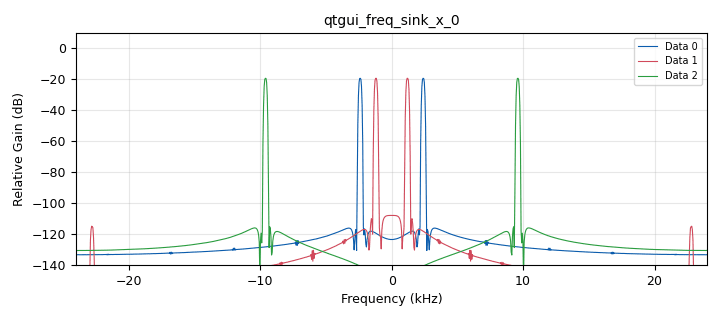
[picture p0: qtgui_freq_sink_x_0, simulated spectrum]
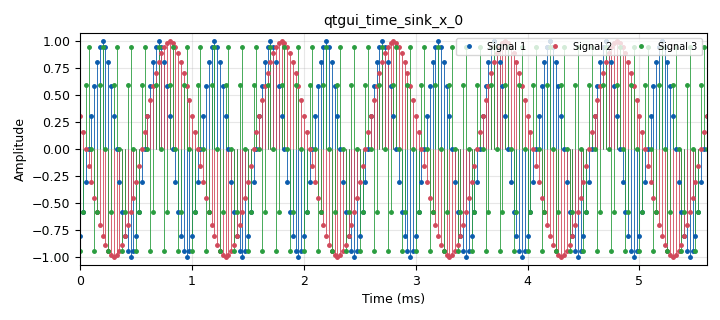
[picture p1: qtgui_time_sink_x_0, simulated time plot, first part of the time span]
options:
  parameters:
    author: labcom
    generate_options: qt_gui
    id: punto2
    output_language: python
    title: pumto2
  states: {}

blocks:
- name: freq
  id: variable_qtgui_range
  parameters:
    label: Frequency
    start: '1000'
    step: '1000'
    stop: '40000'
    value: '2000'
  states: {}
- name: samp_rate
  id: variable
  parameters:
    value: '40000'
  states: {}
- name: analog_sig_source_x_0
  id: analog_sig_source_x
  parameters:
    amp: '1'
    freq: freq
    offset: '0'
    phase: '0'
    samp_rate: samp_rate
    type: float
    waveform: analog.GR_COS_WAVE
  states: {}
- name: analog_sig_source_x_0_0
  id: analog_sig_source_x
  parameters:
    amp: '1'
    freq: freq
    offset: '0'
    phase: '0'
    samp_rate: samp_rate
    type: float
    waveform: analog.GR_COS_WAVE
  states: {}
- name: analog_sig_source_x_0_1
  id: analog_sig_source_x
  parameters:
    amp: '1'
    freq: freq
    offset: '0'
    phase: '0'
    samp_rate: samp_rate
    type: float
    waveform: analog.GR_COS_WAVE
  states: {}
- name: blocks_throttle_0
  id: blocks_throttle
  parameters:
    samples_per_second: samp_rate
    type: float
  states: {}
- name: qtgui_freq_sink_x_0
  id: qtgui_freq_sink_x
  parameters:
    bw: '48000'
    fc: '0'
    fftsize: '1024'
    nconnections: '3'
    type: float
    wintype: window.WIN_FLATTOP
  states: {}
- name: qtgui_time_sink_x_0
  id: qtgui_time_sink_x
  parameters:
    grid: 'True'
    nconnections: '3'
    size: '1024'
    srate: samp_rate
    stemplot: 'True'
    type: float
  states: {}
- name: rational_resampler_xxx_0
  id: rational_resampler_xxx
  parameters:
    decim: '1'
    interp: '1'
    type: fff
  states: {}
- name: rational_resampler_xxx_0_0
  id: rational_resampler_xxx
  parameters:
    decim: '1'
    interp: '2'
    type: fff
  states: {}
- name: rational_resampler_xxx_0_1
  id: rational_resampler_xxx
  parameters:
    decim: '4'
    interp: '1'
    type: fff
  states: {}

connections:
- [analog_sig_source_x_0, '0', rational_resampler_xxx_0, '0']
- [analog_sig_source_x_0_0, '0', rational_resampler_xxx_0_0, '0']
- [analog_sig_source_x_0_1, '0', rational_resampler_xxx_0_1, '0']
- [blocks_throttle_0, '0', qtgui_freq_sink_x_0, '0']
- [blocks_throttle_0, '0', qtgui_time_sink_x_0, '0']
- [rational_resampler_xxx_0, '0', blocks_throttle_0, '0']
- [rational_resampler_xxx_0_0, '0', qtgui_freq_sink_x_0, '1']
- [rational_resampler_xxx_0_0, '0', qtgui_time_sink_x_0, '1']
- [rational_resampler_xxx_0_1, '0', qtgui_freq_sink_x_0, '2']
- [rational_resampler_xxx_0_1, '0', qtgui_time_sink_x_0, '2']

metadata:
  file_format: 1
